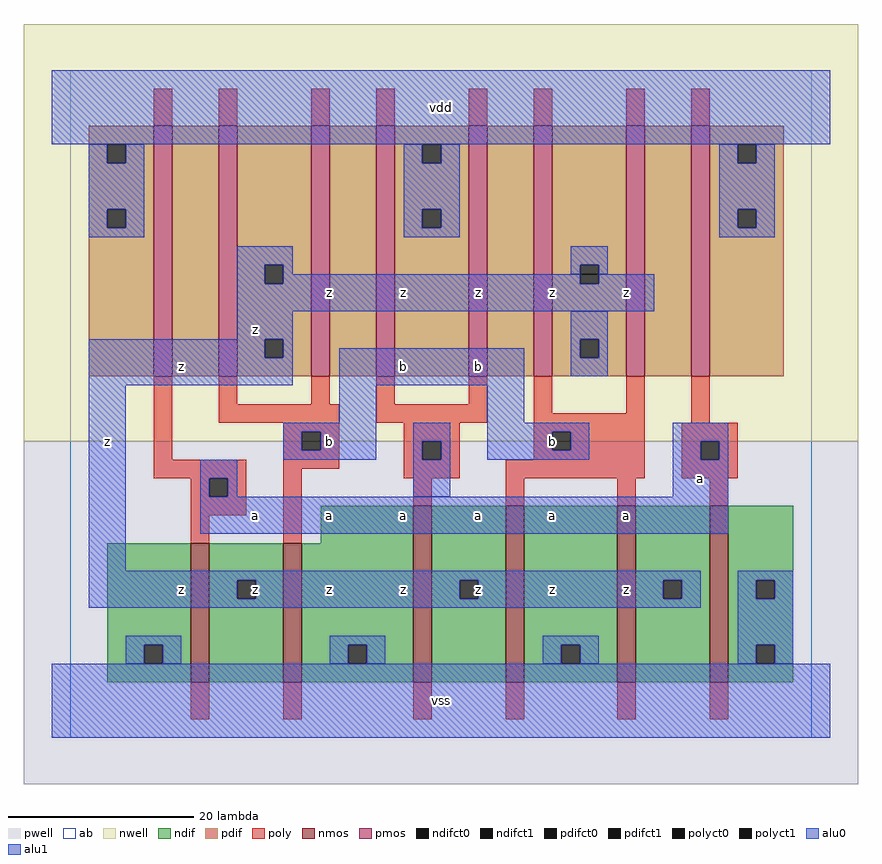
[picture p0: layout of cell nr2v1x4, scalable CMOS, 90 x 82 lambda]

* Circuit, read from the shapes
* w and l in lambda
.subckt nr2v1x4 a b vdd vss z
M1 z a vss VSUBS nfet w=15 l=2
M2 vss b z VSUBS nfet w=15 l=2
M3 z a vss VSUBS nfet w=19 l=2 m=2
M4 vss b z VSUBS nfet w=19 l=2 m=2
M5 n1 a vdd n2 pfet w=27 l=2
M6 z b n1 n2 pfet w=27 l=2
M7 n3 b z n2 pfet w=27 l=2
M8 vdd a n3 n2 pfet w=27 l=2
M9 n4 a vdd n2 pfet w=27 l=2
M10 z b n4 n2 pfet w=27 l=2
M11 n5 b z n2 pfet w=27 l=2
M12 vdd a n5 n2 pfet w=27 l=2
.ends

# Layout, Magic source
magic
tech scmos
<< ab >>
rect 0 0 80 72
<< nwell >>
rect -5 32 85 77
<< pwell >>
rect -5 -5 85 32
<< poly >>
rect 9 66 11 70
rect 16 66 18 70
rect 26 66 28 70
rect 33 66 35 70
rect 43 66 45 70
rect 50 66 52 70
rect 60 66 62 70
rect 67 66 69 70
rect 9 30 11 39
rect 16 36 18 39
rect 26 36 28 39
rect 33 36 35 39
rect 43 36 45 39
rect 16 34 29 36
rect 33 34 45 36
rect 50 35 52 39
rect 60 35 62 39
rect 23 33 29 34
rect 23 31 25 33
rect 27 31 29 33
rect 9 28 19 30
rect 13 26 15 28
rect 17 26 19 28
rect 13 24 19 26
rect 23 29 29 31
rect 36 32 42 34
rect 36 30 38 32
rect 40 30 42 32
rect 50 33 62 35
rect 67 34 69 39
rect 50 31 52 33
rect 54 31 62 33
rect 50 30 62 31
rect 13 21 15 24
rect 23 21 25 29
rect 36 28 42 30
rect 47 28 62 30
rect 66 32 72 34
rect 66 30 68 32
rect 70 30 72 32
rect 66 28 72 30
rect 37 25 39 28
rect 47 25 49 28
rect 59 25 61 28
rect 69 25 71 28
rect 13 2 15 6
rect 23 2 25 6
rect 37 2 39 6
rect 47 2 49 6
rect 59 2 61 6
rect 69 2 71 6
<< ndif >>
rect 27 21 37 25
rect 4 10 13 21
rect 4 8 8 10
rect 10 8 13 10
rect 4 6 13 8
rect 15 17 23 21
rect 15 15 18 17
rect 20 15 23 17
rect 15 6 23 15
rect 25 10 37 21
rect 25 8 30 10
rect 32 8 37 10
rect 25 6 37 8
rect 39 17 47 25
rect 39 15 42 17
rect 44 15 47 17
rect 39 6 47 15
rect 49 10 59 25
rect 49 8 53 10
rect 55 8 59 10
rect 49 6 59 8
rect 61 17 69 25
rect 61 15 64 17
rect 66 15 69 17
rect 61 6 69 15
rect 71 17 78 25
rect 71 15 74 17
rect 76 15 78 17
rect 71 10 78 15
rect 71 8 74 10
rect 76 8 78 10
rect 71 6 78 8
<< pdif >>
rect 2 64 9 66
rect 2 62 4 64
rect 6 62 9 64
rect 2 57 9 62
rect 2 55 4 57
rect 6 55 9 57
rect 2 39 9 55
rect 11 39 16 66
rect 18 51 26 66
rect 18 49 21 51
rect 23 49 26 51
rect 18 43 26 49
rect 18 41 21 43
rect 23 41 26 43
rect 18 39 26 41
rect 28 39 33 66
rect 35 64 43 66
rect 35 62 38 64
rect 40 62 43 64
rect 35 57 43 62
rect 35 55 38 57
rect 40 55 43 57
rect 35 39 43 55
rect 45 39 50 66
rect 52 51 60 66
rect 52 49 55 51
rect 57 49 60 51
rect 52 43 60 49
rect 52 41 55 43
rect 57 41 60 43
rect 52 39 60 41
rect 62 39 67 66
rect 69 64 77 66
rect 69 62 72 64
rect 74 62 77 64
rect 69 57 77 62
rect 69 55 72 57
rect 74 55 77 57
rect 69 39 77 55
<< alu1 >>
rect -2 64 82 72
rect 18 51 24 53
rect 18 49 21 51
rect 23 50 24 51
rect 23 49 55 50
rect 57 49 63 50
rect 18 46 63 49
rect 18 43 24 46
rect 2 41 21 43
rect 23 41 24 43
rect 2 38 24 41
rect 29 38 49 42
rect 2 18 6 38
rect 29 34 33 38
rect 45 34 49 38
rect 23 33 33 34
rect 23 31 25 33
rect 27 31 33 33
rect 23 30 33 31
rect 45 33 56 34
rect 45 31 52 33
rect 54 31 56 33
rect 45 30 56 31
rect 65 32 71 34
rect 65 30 68 32
rect 70 30 71 32
rect 14 28 18 30
rect 14 26 15 28
rect 17 26 18 28
rect 65 26 71 30
rect 14 22 71 26
rect 2 17 68 18
rect 2 15 18 17
rect 20 15 42 17
rect 44 15 64 17
rect 66 15 68 17
rect 2 14 68 15
rect -2 0 82 8
<< nmos >>
rect 13 6 15 21
rect 23 6 25 21
rect 37 6 39 25
rect 47 6 49 25
rect 59 6 61 25
rect 69 6 71 25
<< pmos >>
rect 9 39 11 66
rect 16 39 18 66
rect 26 39 28 66
rect 33 39 35 66
rect 43 39 45 66
rect 50 39 52 66
rect 60 39 62 66
rect 67 39 69 66
<< polyct0 >>
rect 38 30 40 32
<< polyct1 >>
rect 25 31 27 33
rect 15 26 17 28
rect 52 31 54 33
rect 68 30 70 32
<< ndifct0 >>
rect 8 8 10 10
rect 30 8 32 10
rect 53 8 55 10
rect 74 15 76 17
rect 74 8 76 10
<< ndifct1 >>
rect 18 15 20 17
rect 42 15 44 17
rect 64 15 66 17
<< pdifct0 >>
rect 4 62 6 64
rect 4 55 6 57
rect 38 62 40 64
rect 38 55 40 57
rect 55 50 57 51
rect 55 41 57 43
rect 72 62 74 64
rect 72 55 74 57
<< pdifct1 >>
rect 21 49 23 51
rect 21 41 23 43
rect 55 49 57 50
<< alu0 >>
rect 2 62 4 64
rect 6 62 8 64
rect 2 57 8 62
rect 2 55 4 57
rect 6 55 8 57
rect 2 54 8 55
rect 36 62 38 64
rect 40 62 42 64
rect 36 57 42 62
rect 36 55 38 57
rect 40 55 42 57
rect 36 54 42 55
rect 70 62 72 64
rect 74 62 76 64
rect 70 57 76 62
rect 70 55 72 57
rect 74 55 76 57
rect 70 54 76 55
rect 54 51 58 53
rect 54 50 55 51
rect 57 50 58 51
rect 54 43 58 46
rect 54 41 55 43
rect 57 41 58 43
rect 54 39 58 41
rect 37 32 41 34
rect 37 30 38 32
rect 40 30 41 32
rect 37 26 41 30
rect 72 17 78 18
rect 72 15 74 17
rect 76 15 78 17
rect 6 10 12 11
rect 6 8 8 10
rect 10 8 12 10
rect 28 10 34 11
rect 28 8 30 10
rect 32 8 34 10
rect 51 10 57 11
rect 51 8 53 10
rect 55 8 57 10
rect 72 10 78 15
rect 72 8 74 10
rect 76 8 78 10
<< labels >>
rlabel alu1 4 32 4 32 6 z
rlabel alu1 20 16 20 16 6 z
rlabel alu1 28 16 28 16 6 z
rlabel alu1 12 16 12 16 6 z
rlabel alu1 20 24 20 24 6 a
rlabel alu1 28 24 28 24 6 a
rlabel alu1 28 32 28 32 6 b
rlabel alu1 12 40 12 40 6 z
rlabel alu1 20 44 20 44 6 z
rlabel alu1 28 48 28 48 6 z
rlabel alu1 40 4 40 4 6 vss
rlabel alu1 36 16 36 16 6 z
rlabel alu1 44 16 44 16 6 z
rlabel alu1 36 24 36 24 6 a
rlabel alu1 44 24 44 24 6 a
rlabel alu1 36 40 36 40 6 b
rlabel alu1 44 40 44 40 6 b
rlabel alu1 36 48 36 48 6 z
rlabel alu1 44 48 44 48 6 z
rlabel alu1 40 68 40 68 6 vdd
rlabel alu1 60 16 60 16 6 z
rlabel alu1 52 16 52 16 6 z
rlabel alu1 52 24 52 24 6 a
rlabel alu1 60 24 60 24 6 a
rlabel alu1 52 32 52 32 6 b
rlabel alu1 52 48 52 48 6 z
rlabel alu1 60 48 60 48 6 z
rlabel alu1 68 28 68 28 6 a
<< end >>
